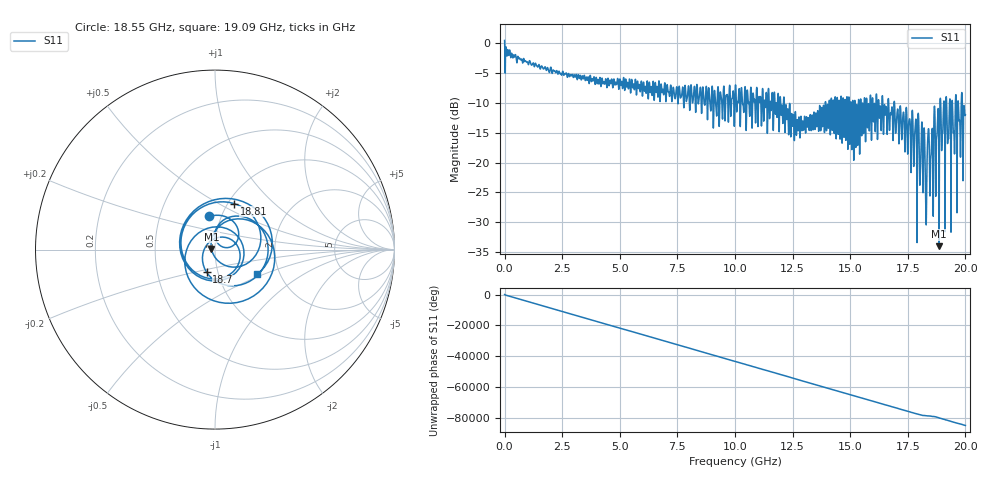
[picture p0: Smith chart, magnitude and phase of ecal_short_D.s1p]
! MS46122B
! 2250307/22442219
! 7/24/2025 12:32:39 PM
! C:\USERS\SPARKY\DOCUMENTS\VNA_DATA\JULY24_2025\295K\ECAL_SHORT_D.S1P
! CHANNEL.1
! TR.MEASUREMENT
! RAW.DATA
# GHZ S RI R 50.0
! FREQ.GHZ  S11RE  S11IM
!; PortSelection: Port_1
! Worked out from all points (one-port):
!   10001 points, 1 MHz to 20 GHz, reference 50 ohm
!   lowest |S11| = -34.0 dB at 18.86 GHz (marker M1), VSWR 1.04, Z = 48.1 + j0.297 ohm
!   |S11| at or under -10 dB: 12.14 GHz to 13.92 GHz (1.78 GHz wide, 13.7 % of centre); 16.67 GHz to 16.9 GHz (234.8 MHz wide, 1.4 % of centre); 16.92 GHz to 18.9 GHz (1.975 GHz wide, 11 % of centre) (the widest 3 of 72)
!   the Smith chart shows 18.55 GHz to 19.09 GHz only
!   S11 on the Smith chart (normalised r, x): 18.55 GHz: 0.88, +0.34; 18.7 GHz: 0.88, -0.23; 18.81 GHz: 1.07, +0.59; 19.09 GHz: 1.53, -0.45
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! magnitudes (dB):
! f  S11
! 1 MHz  0.4
! 2.501 GHz  -5.0
! 5.001 GHz  -6.1
! 7.501 GHz  -8.5
! 10 GHz  -8.4
! 11.79 GHz  -10.0
! 12.5 GHz  -13.9
! 14.27 GHz  -9.6
! 15 GHz  -13.5
! 16.06 GHz  -10.3
! 17.5 GHz  -18.4
! 17.57 GHz  -12.7
! 17.77 GHz  -17.7
! 17.83 GHz  -13.9
! 17.89 GHz  -24.1
! 17.98 GHz  -13.7
! 18.16 GHz  -24.7
! 18.24 GHz  -18.1
! 18.55 GHz  -14.5
! 18.59 GHz  -21.6
! 18.7 GHz  -17.4
! 18.81 GHz  -11.1
! 18.86 GHz  -34.0
! 19.09 GHz  -11.4
! 19.45 GHz  -12.5
! 19.51 GHz  -15.3
! 19.56 GHz  -11.8
! 20 GHz  -12.0
